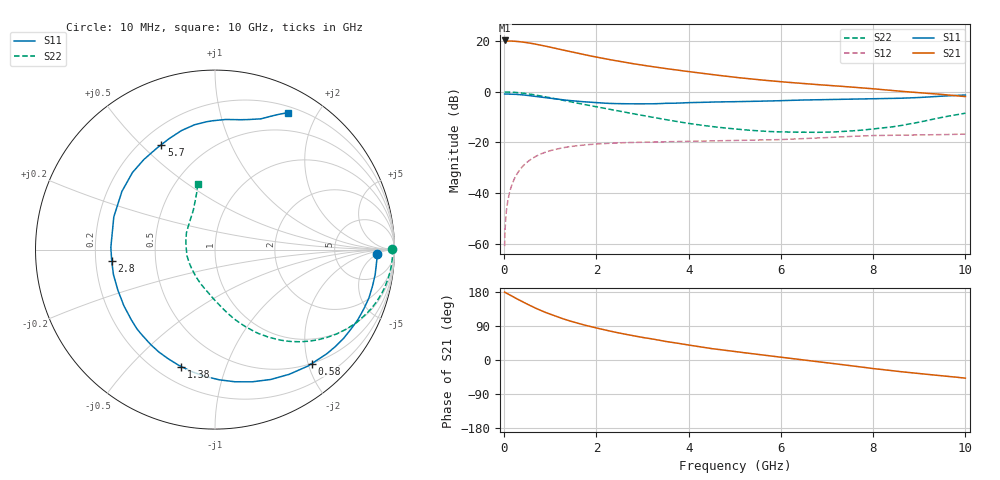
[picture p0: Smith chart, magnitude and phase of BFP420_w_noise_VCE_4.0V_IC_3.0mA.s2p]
! Infineon Technologies  Discrete & RF Semiconductors
! BFP420
! VCE =  4.0 V,  IC =  3.0 mA
! Common Emitter S-Parameters:  Jan 2016
# GHz  S  MA  R  50
!  f  S11  S21  S12  S22
! GHz  MAG  ANG  MAG  ANG  MAG  ANG  MAG  ANG
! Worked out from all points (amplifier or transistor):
!   233 points, 10 MHz to 10 GHz, reference 50 ohm
!   highest |S21| = 20.3 dB at 10 MHz (marker M1)
!   |S21| within 3 dB of that: start of sweep to 1.084 GHz
!   unconditionally stable (mu >= 1): 3.537 GHz to end of sweep
!   at 200 MHz: K = 0.08, MSG = 27.6 dB, |S12| = -35.2 dB
!   at 1.74 GHz: K = 0.44, MSG = 17.8 dB, |S12| = -21.0 dB
!   at 10 GHz: K = 1.17, MAG = 4.9 dB, |S12| = -16.7 dB
!   lowest NFmin = 0.57 dB at 900 MHz
!   S11 on the Smith chart (normalised r, x): 10 MHz: 19, -5; 580 MHz: 0.50, -2.06; 1.38 GHz: 0.29, -0.71; 2.8 GHz: 0.27, -0.05; 5.7 GHz: 0.28, +0.58; 10 GHz: 0.27, +1.63
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0.01  0.9046 -1.5  10.3 179.1  0.0009 52.1  0.9878 0.2
0.02  0.9052 -1.7  10.02 178.7  0.0019 65.4  0.9893 -0.9
0.05  0.9031 -4.5  10.04 176.4  0.0046 76.9  0.9896 -2.3
0.145  0.9008 -12.7  10.04 170.2  0.0127 80.0  0.9839 -6.9
0.3  0.8863 -26.3  9.818 160.0  0.0257 74.4  0.9628 -14.1
0.4  0.8704 -34.7  9.588 153.7  0.0337 70.2  0.9418 -18.6
0.58  0.833 -49.7  9.056 142.7  0.0465 62.6  0.8939 -26.2
0.7  0.8084 -59.3  8.666 135.8  0.0541 58.0  0.8583 -30.9
0.9  0.7652 -74.3  7.943 125.4  0.0645 51.1  0.7951 -37.9
1.2  0.7081 -94.8  6.91 111.8  0.0764 42.3  0.702 -47.0
1.38  0.6782 -106.0  6.356 104.7  0.0816 38.0  0.651 -51.6
1.68  0.6407 -123.0  5.555 94.2  0.0884 31.8  0.5748 -58.3
1.9  0.6202 -134.4  5.046 87.2  0.0921 27.9  0.5255 -62.7
2.2  0.5962 -148.5  4.467 78.8  0.0959 23.6  0.4671 -67.9
2.8  0.579 -173.9  3.582 64.0  0.1003 16.6  0.3684 -78.0
3.4  0.5862 165.3  2.965 51.4  0.1029 11.7  0.2938 -88.1
4.4  0.624 139.1  2.25 32.0  0.1069 6.0  0.212 -110.0
5.1  0.6409 126.5  1.894 20.7  0.1096 3.2  0.1814 -127.1
5.7  0.6569 117.0  1.671 11.8  0.1124 1.4  0.1656 -143.5
6.8  0.6975 101.8  1.386 -4.4  0.1225 -2.0  0.1588 -175.6
8.4  0.7374 78.9  1.062 -28.1  0.1386 -12.5  0.2025 136.0
10  0.8644 62.0  0.805 -47.9  0.1465 -20.1  0.3782 104.6
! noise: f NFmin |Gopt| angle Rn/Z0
0.9  0.57  0.35  33  0.18
1.8  1.02  0.2  79  0.14
2.4  1.1  0.23  104  0.14
3  1.25  0.24  144  0.11
4  1.46  0.33  -159  0.1
5  1.9  0.39  -128  0.22
6  2.46  0.48  -107  0.35
